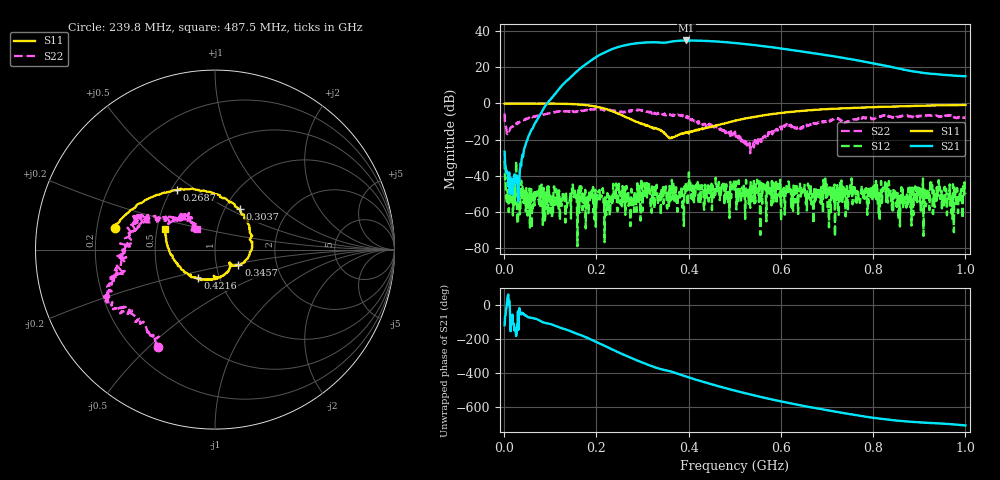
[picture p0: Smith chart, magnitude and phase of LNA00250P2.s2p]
! Created with skrf 1.9.0 (http://scikit-rf.org).
# Hz S RI R 50.0
!freq ReS11 ImS11 ReS21 ImS21 ReS12 ImS12 ReS22 ImS22
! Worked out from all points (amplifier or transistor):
!   1001 points, 1 MHz to 1 GHz, reference 50 ohm
!   highest |S21| = 34.9 dB at 394.6 MHz (marker M1)
!   |S21| within 3 dB of that: 256.6 MHz to 557.5 MHz (300.9 MHz wide, 73.9 % of centre)
!   unconditionally stable (mu >= 1): start of sweep to 80.9 MHz; 297.9 MHz to 400.4 MHz; 400.7 MHz to end of sweep (the widest 3 of 29)
!   at 166.8 MHz: K = 0.41, MSG = 32.8 dB, |S12| = -45.9 dB
!   at 500.5 MHz: K = 1.88, MAG = 34.1 dB, |S12| = -45.4 dB
!   at 1 GHz: K = 4.01, MAG = 23.7 dB, |S12| = -50.2 dB
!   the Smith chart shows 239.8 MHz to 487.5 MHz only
!   S11 on the Smith chart (normalised r, x): 239.8 MHz: 0.28, +0.10; 268.7 MHz: 0.54, +0.42; 303.7 MHz: 1.18, +0.57; 345.7 MHz: 1.28, -0.23; 421.6 MHz: 0.79, -0.26; 487.5 MHz: 0.55, +0.14
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1000000  0.9821 0.00635  -0.0211 -0.0411  -0.0193 0.0174  0.3688 0.3875
1.07893e8  0.5184 -0.8474  -0.7812 -1.496  0.00503 -0.000492  0.4331 -0.3803
1.67833e8  -0.2536 -0.8867  -10.01 -0.3646  0.00133 -0.00396  0.0232 -0.6343
2.08792e8  -0.677 -0.3752  -15.27 16.87  -0.00173 0.00234  -0.2064 -0.6748
2.39761e8  -0.5548 0.1229  -1.192 34.23  0.000925 -0.00267  -0.3179 -0.5432
2.68732e8  -0.2111 0.3303  23.78 35.35  -0.00213 -0.00328  -0.4834 -0.3379
3.03697e8  0.1398 0.2254  46.51 13.68  -0.00353 0.00511  -0.5851 -0.1869
3.34666e8  0.1884 -0.0363  47.65 -11.79  0.00174 0.00136  -0.5218 -0.0584
3.45655e8  0.1305 -0.0861  44.9 -18  0.000189 0.00165  -0.5022 0.0215
3.68632e8  0.0858 -0.0822  42.06 -32.69  -0.00175 0.00105  -0.4321 0.1495
3.94606e8  0.0295 -0.1555  26.13 -49.21  0.00165 0.00474  -0.3973 0.1809
4.21579e8  -0.0938 -0.1564  4.607 -54.57  0.00114 -0.0012  -0.2671 0.1849
4.5055e8  -0.2152 -0.0756  -16.85 -50.53  0.00111 1.18e-05  -0.143 0.1781
4.87513e8  -0.2791 0.1162  -35.24 -33.99  0.00357 -0.000238  -0.1002 0.1163
5.005e8  -0.2702 0.1865  -39.24 -26.97  -0.00199 -0.00499  -0.1257 0.1064
5.39461e8  -0.168 0.386  -41.55 -5.732  0.00465 0.000326  -0.0836 -0.00949
5.83417e8  0.0388 0.5117  -33.49 12.16  0.0015 -0.00043  -0.1369 -0.072
6.25375e8  0.243 0.5402  -21.74 20.57  0.000375 -0.0042  -0.1847 -0.1278
6.67333e8  0.4422 0.4861  -10.3 22.66  0.00229 -0.00135  -0.2601 -0.0452
7.53247e8  0.707 0.2517  4.751 16.02  0.0021 -0.0082  -0.3291 0.0457
8.34166e8  0.8139 -0.018  7.908 7.094  -0.00585 -0.00406  -0.4144 0.1132
1e9  0.7115 -0.5677  5.655 0.7926  -0.00249 0.00184  -0.1557 0.3653
